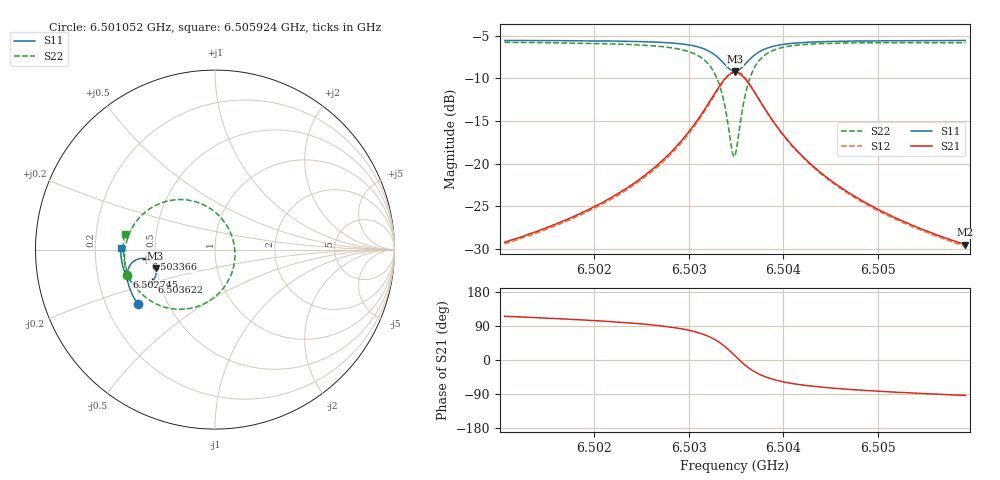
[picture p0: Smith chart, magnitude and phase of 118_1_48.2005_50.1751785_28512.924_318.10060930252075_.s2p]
#  HZ  S  RI  R  50.00
! Rohde & Schwarz Vector Network Analyzer
! Rohde-Schwarz,ZNB20-2Port,1311601062101988,3.16
! Created: UTC 3/20/2024, 11:41:16 AM
! freq[Hz]  re:S11  im:S11  re:S21  im:S21  re:S12  im:S12  re:S22  im:S22
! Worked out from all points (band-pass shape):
!   401 points, 6.501052 GHz to 6.505924 GHz, reference 50 ohm
!   highest |S21| = -9.30 dB at 6.503488 GHz (marker M1); lowest = -29.5 dB at 6.505924 GHz (marker M2)
!   |S21| within 3 dB of the highest: 6.503244 GHz to 6.503731 GHz (486.8 kHz wide, 0.00749 % of centre)
!   lowest |S11| = -9.2 dB at 6.503488 GHz (marker M3), VSWR 2.06, Z = 24.7 - j5.78 ohm
!   |S11| at or under -10 dB: nowhere
!   |S22| runs from -19.2 to -5.8 dB; largest |S21 - S12| = 0.012
!   S11 on the Smith chart (normalised r, x): 6.501052 GHz: 0.34, -0.28; 6.502745 GHz: 0.33, -0.13; 6.503366 GHz: 0.44, -0.05; 6.503622 GHz: 0.45, -0.19; 6.505924 GHz: 0.31, +0.01
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6.5010516e9  -0.4309 -0.3025  -0.0149 0.0312  -0.0131 0.0313  -0.4929 -0.144
6.5018677e9  -0.4653 -0.2412  -0.014 0.0496  -0.0115 0.0491  -0.5043 -0.0554
6.5023428e9  -0.4814 -0.1981  -0.0106 0.0712  -0.00736 0.0698  -0.4992 0.015
6.5026839e9  -0.4889 -0.1591  -0.00137 0.0999  0.00234 0.0975  -0.4787 0.0866
6.5027448e9  -0.4893 -0.1509  0.00197 0.1072  0.00572 0.1045  -0.4715 0.1028
6.502964e9  -0.4856 -0.1157  0.0243 0.143  0.028 0.1386  -0.4247 0.174
6.5031224e9  -0.4706 -0.0834  0.0643 0.1794  0.0672 0.1734  -0.3468 0.238
6.5032686e9  -0.4324 -0.0537  0.1471 0.2083  0.1478 0.2018  -0.1959 0.2788
6.5033173e9  -0.4109 -0.0489  0.1901 0.2067  0.1902 0.2009  -0.1202 0.2699
6.503366e9  -0.3853 -0.051  0.2395 0.1912  0.2397 0.1864  -0.0355 0.2344
6.5034513e9  -0.3422 -0.0807  0.3186 0.1155  0.321 0.111  0.0903 0.0847
6.5034878e9  -0.3313 -0.1031  0.3363 0.0659  0.3397 0.0603  0.1109 -0.00808
6.5035122e9  -0.3283 -0.1196  0.3395 0.0309  0.3434 0.0239  0.1081 -0.0724
6.5035488e9  -0.3305 -0.1439  0.3318 -0.0197  0.3352 -0.029  0.0797 -0.1625
6.5036218e9  -0.353 -0.1814  0.2844 -0.0969  0.284 -0.1085  -0.0325 -0.2862
6.5037193e9  -0.3943 -0.2009  0.2052 -0.1402  0.2 -0.1505  -0.1938 -0.3327
6.5038776e9  -0.4439 -0.1935  0.1162 -0.1392  0.109 -0.1449  -0.3553 -0.2878
6.5040604e9  -0.4747 -0.1706  0.0657 -0.1167  0.0592 -0.119  -0.4373 -0.2154
6.504304e9  -0.4958 -0.1408  0.0347 -0.0911  0.0299 -0.0918  -0.4816 -0.1412
6.5046694e9  -0.5114 -0.102  0.0152 -0.067  0.0119 -0.0666  -0.5045 -0.0653
6.5051201e9  -0.5208 -0.0596  0.00516 -0.0499  0.00291 -0.0491  -0.5108 0.00036
6.5059241e9  -0.5261 0.00885  -0.00199 -0.0334  -0.00333 -0.0327  -0.5031 0.0876
